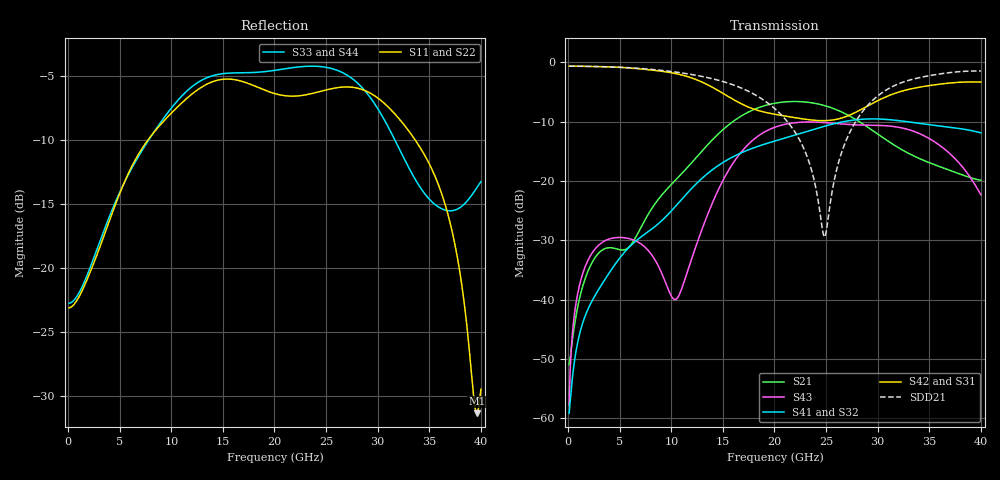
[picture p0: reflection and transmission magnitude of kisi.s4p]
! E_s8_L1L3_p800_round_g2: pair L1→L3, pitch 0.8 mm, two round antipads, 2 GND vias
! stackup: 8-layer 1.6 mm FR-4 (generic)
! ports: 1 P near, 2 N near, 3 P far, 4 N far
! kisi-fdtd, conformal, dfine 0.0175 mm (the cell at metal ÷ 2), 1669668 cells
# Hz S RI R 50
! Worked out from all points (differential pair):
!   400 points, 100 MHz to 40 GHz, reference 50 ohm
!   strongest paths, dB at 100 MHz, 10.1 GHz, 20.1 GHz, 30.1 GHz, 40 GHz:
!     S42: -0.6, -1.8, -8.8, -6.4, -3.3
!     S31: -0.6, -1.8, -8.8, -6.4, -3.3
!     S41: -59.2, -24.9, -13.2, -9.6, -11.9
!     S32: -59.2, -24.9, -13.2, -9.6, -11.9
!     S43: -57.7, -39.7, -10.9, -10.6, -22.3
!     S21: -51.0, -20.4, -6.9, -12.2, -19.9
!   taken as a pair (ports 2,1 in; 4,3 out), SDD21 dB: -0.7, -1.6, -7.9, -5.5, -1.5
!   lowest |S11| = -31.3 dB at 39.6 GHz (marker M1), VSWR 1.06, Z = 52.7 + j0.718 ohm
!   |S11| at or under -10 dB: start of sweep to 7.732 GHz; 33.64 GHz to end of sweep
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1e8  -0.0699 -0.000983  0.00271 0.000802  0.9278 -0.0344  0.000973 -0.000516
     0.00271 0.000802  -0.0699 -0.000983  0.000973 -0.000516  0.9278 -0.0344
     0.9278 -0.0344  0.000973 -0.000516  -0.0729 -0.000565  -0.000344 0.00125
     0.000973 -0.000516  0.9278 -0.0344  -0.000344 0.00125  -0.0729 -0.000565
8.2e9  -0.0185 0.3341  0.0593 -0.0104  -0.8566 -0.0669  0.00759 0.0392
       0.0593 -0.0104  -0.0185 0.3341  0.00759 0.0392  -0.8566 -0.0669
       -0.8566 -0.0669  0.00759 0.0392  0.00789 0.3342  -0.00747 -0.022
       0.00759 0.0392  -0.8566 -0.0669  -0.00747 -0.022  0.00789 0.3342
1.51e10  0.1979 -0.5098  -0.2599 -0.0907  0.4421 0.3131  -0.1033 -0.1016
         -0.2599 -0.0907  0.1979 -0.5098  -0.1033 -0.1016  0.4421 0.3131
         0.4421 0.3131  -0.1033 -0.1016  0.1546 -0.5542  -0.1046 -0.0057
         -0.1033 -0.1016  0.4421 0.3131  -0.1046 -0.0057  0.1546 -0.5542
2.31e10  -0.267 0.3936  0.4194 -0.1941  0.0174 -0.3299  0.141 -0.2193
         0.4194 -0.1941  -0.267 0.3936  0.141 -0.2193  0.0174 -0.3299
         0.0174 -0.3299  0.141 -0.2193  -0.03 0.6133  0.1803 -0.2572
         0.141 -0.2193  0.0174 -0.3299  0.1803 -0.2572  -0.03 0.6133
3.05e10  0.3109 -0.3186  -0.1804 0.1461  -0.4777 0.1421  0.0513 0.3278
         -0.1804 0.1461  0.3109 -0.3186  0.0513 0.3278  -0.4777 0.1421
         -0.4777 0.1421  0.0513 0.3278  0.1428 -0.3614  0.0531 0.2883
         0.0513 0.3278  -0.4777 0.1421  0.0531 0.2883  0.1428 -0.3614
3.96e10  0.0262 0.00681  -0.0395 -0.0952  0.5975 -0.331  -0.2244 -0.1309
         -0.0395 -0.0952  0.0262 0.00681  -0.2244 -0.1309  0.5975 -0.331
         0.5975 -0.331  -0.2244 -0.1309  -0.1287 0.1604  -0.0818 -0.0322
         -0.2244 -0.1309  0.5975 -0.331  -0.0818 -0.0322  -0.1287 0.1604
4e10  0.0284 -0.018  -0.062 -0.0803  0.5427 -0.4134  -0.2383 -0.0889
      -0.062 -0.0803  0.0284 -0.018  -0.2383 -0.0889  0.5427 -0.4134
      0.5427 -0.4134  -0.2383 -0.0889  -0.1205 0.1811  -0.0758 -0.00958
      -0.2383 -0.0889  0.5427 -0.4134  -0.0758 -0.00958  -0.1205 0.1811
